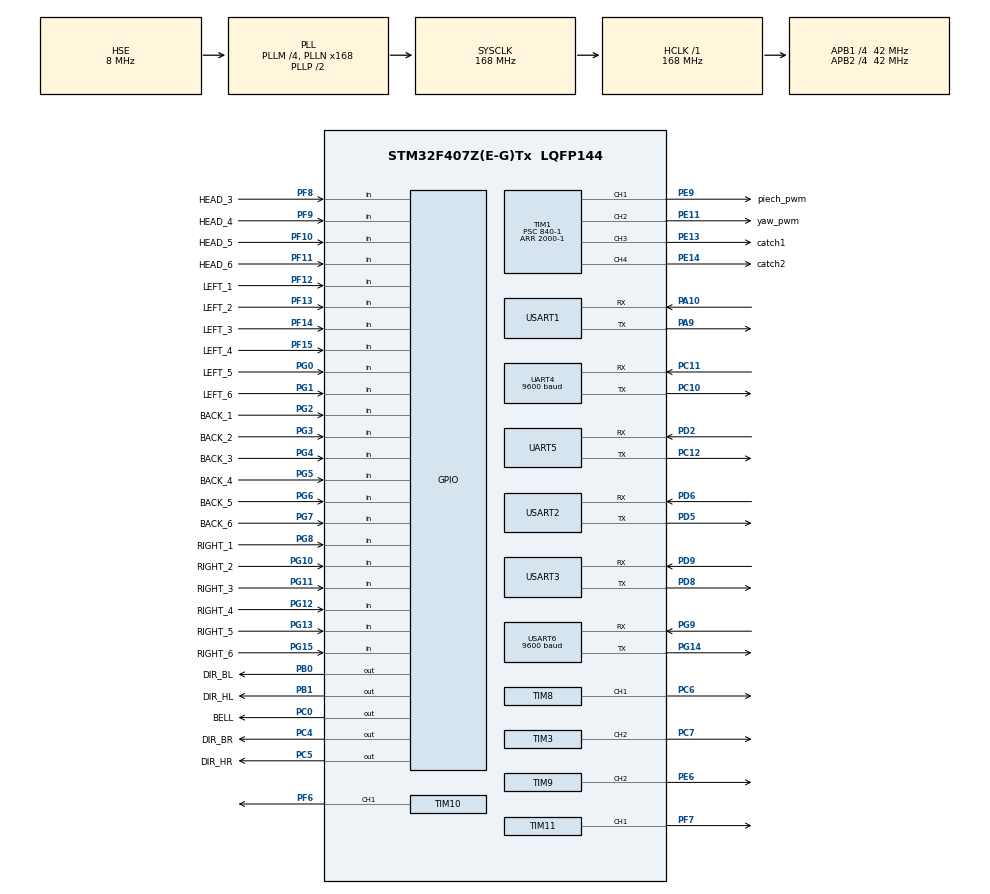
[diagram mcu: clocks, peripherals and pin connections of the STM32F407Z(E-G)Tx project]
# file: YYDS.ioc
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Dma.Request0=USART3_RX
Dma.Request1=USART1_RX
Dma.Request2=USART2_RX
Dma.Request3=UART4_RX
Dma.Request4=UART4_TX
Dma.Request5=USART6_RX
Dma.Request6=USART6_TX
Dma.UART4_RX.3.Direction=DMA_PERIPH_TO_MEMORY
Dma.UART4_RX.3.FIFOMode=DMA_FIFOMODE_DISABLE
Dma.UART4_RX.3.Instance=DMA1_Stream2
Dma.UART4_RX.3.MemDataAlignment=DMA_MDATAALIGN_BYTE
Dma.UART4_RX.3.MemInc=DMA_MINC_ENABLE
Dma.UART4_RX.3.Mode=DMA_NORMAL
Dma.UART4_RX.3.PeriphDataAlignment=DMA_PDATAALIGN_BYTE
Dma.UART4_RX.3.PeriphInc=DMA_PINC_DISABLE
Dma.UART4_RX.3.Priority=DMA_PRIORITY_LOW
Dma.UART4_TX.4.Direction=DMA_MEMORY_TO_PERIPH
Dma.UART4_TX.4.FIFOMode=DMA_FIFOMODE_DISABLE
Dma.UART4_TX.4.Instance=DMA1_Stream4
Dma.UART4_TX.4.MemDataAlignment=DMA_MDATAALIGN_BYTE
Dma.UART4_TX.4.MemInc=DMA_MINC_ENABLE
Dma.UART4_TX.4.Mode=DMA_NORMAL
Dma.UART4_TX.4.PeriphDataAlignment=DMA_PDATAALIGN_BYTE
Dma.UART4_TX.4.PeriphInc=DMA_PINC_DISABLE
Dma.UART4_TX.4.Priority=DMA_PRIORITY_LOW
Dma.USART1_RX.1.Direction=DMA_PERIPH_TO_MEMORY
Dma.USART1_RX.1.FIFOMode=DMA_FIFOMODE_DISABLE
Dma.USART1_RX.1.Instance=DMA2_Stream2
Dma.USART1_RX.1.MemDataAlignment=DMA_MDATAALIGN_BYTE
Dma.USART1_RX.1.MemInc=DMA_MINC_ENABLE
Dma.USART1_RX.1.Mode=DMA_NORMAL
Dma.USART1_RX.1.PeriphDataAlignment=DMA_PDATAALIGN_BYTE
Dma.USART1_RX.1.PeriphInc=DMA_PINC_DISABLE
Dma.USART1_RX.1.Priority=DMA_PRIORITY_HIGH
Dma.USART2_RX.2.Direction=DMA_PERIPH_TO_MEMORY
Dma.USART2_RX.2.FIFOMode=DMA_FIFOMODE_DISABLE
Dma.USART2_RX.2.Instance=DMA1_Stream5
Dma.USART2_RX.2.MemDataAlignment=DMA_MDATAALIGN_BYTE
Dma.USART2_RX.2.MemInc=DMA_MINC_ENABLE
Dma.USART2_RX.2.Mode=DMA_NORMAL
Dma.USART2_RX.2.PeriphDataAlignment=DMA_PDATAALIGN_BYTE
Dma.USART2_RX.2.PeriphInc=DMA_PINC_DISABLE
Dma.USART2_RX.2.Priority=DMA_PRIORITY_VERY_HIGH
Dma.USART3_RX.0.Direction=DMA_PERIPH_TO_MEMORY
Dma.USART3_RX.0.FIFOMode=DMA_FIFOMODE_DISABLE
Dma.USART3_RX.0.Instance=DMA1_Stream1
Dma.USART3_RX.0.MemDataAlignment=DMA_MDATAALIGN_BYTE
Dma.USART3_RX.0.MemInc=DMA_MINC_ENABLE
Dma.USART3_RX.0.Mode=DMA_CIRCULAR
Dma.USART3_RX.0.PeriphDataAlignment=DMA_PDATAALIGN_BYTE
Dma.USART3_RX.0.PeriphInc=DMA_PINC_DISABLE
Dma.USART3_RX.0.Priority=DMA_PRIORITY_HIGH
Dma.USART6_RX.5.Direction=DMA_PERIPH_TO_MEMORY
Dma.USART6_RX.5.FIFOMode=DMA_FIFOMODE_DISABLE
Dma.USART6_RX.5.Instance=DMA2_Stream1
Dma.USART6_RX.5.MemDataAlignment=DMA_MDATAALIGN_BYTE
Dma.USART6_RX.5.MemInc=DMA_MINC_ENABLE
Dma.USART6_RX.5.Mode=DMA_NORMAL
Dma.USART6_RX.5.PeriphDataAlignment=DMA_PDATAALIGN_BYTE
Dma.USART6_RX.5.PeriphInc=DMA_PINC_DISABLE
Dma.USART6_RX.5.Priority=DMA_PRIORITY_LOW
Dma.USART6_TX.6.Direction=DMA_MEMORY_TO_PERIPH
Dma.USART6_TX.6.FIFOMode=DMA_FIFOMODE_DISABLE
Dma.USART6_TX.6.Instance=DMA2_Stream6
Dma.USART6_TX.6.MemDataAlignment=DMA_MDATAALIGN_BYTE
Dma.USART6_TX.6.MemInc=DMA_MINC_ENABLE
Dma.USART6_TX.6.Mode=DMA_NORMAL
Dma.USART6_TX.6.PeriphDataAlignment=DMA_PDATAALIGN_BYTE
Dma.USART6_TX.6.PeriphInc=DMA_PINC_DISABLE
Dma.USART6_TX.6.Priority=DMA_PRIORITY_LOW
Mcu.Family=STM32F4
Mcu.Name=STM32F407Z(E-G)Tx
Mcu.Package=LQFP144
NVIC.DMA1_Stream1_IRQn=true\:0\:0\:false\:false\:true\:false\:true\:true
NVIC.DMA1_Stream2_IRQn=true\:0\:0\:false\:false\:true\:false\:true\:true
NVIC.DMA1_Stream4_IRQn=true\:0\:0\:false\:false\:true\:false\:true\:true
NVIC.DMA1_Stream5_IRQn=true\:0\:0\:false\:false\:true\:false\:true\:true
NVIC.DMA2_Stream1_IRQn=true\:0\:0\:false\:false\:true\:false\:true\:true
NVIC.DMA2_Stream2_IRQn=true\:0\:0\:false\:false\:true\:false\:true\:true
NVIC.DMA2_Stream6_IRQn=true\:0\:0\:false\:false\:true\:false\:true\:true
NVIC.PriorityGroup=NVIC_PRIORITYGROUP_4
NVIC.TIM5_IRQn=true\:0\:0\:false\:false\:true\:true\:true\:true
NVIC.UART4_IRQn=true\:2\:0\:true\:false\:true\:true\:true\:true
NVIC.UART5_IRQn=true\:3\:0\:true\:false\:true\:true\:true\:true
NVIC.USART1_IRQn=true\:2\:0\:true\:false\:true\:true\:true\:true
NVIC.USART2_IRQn=true\:0\:0\:true\:false\:true\:true\:true\:true
NVIC.USART3_IRQn=true\:1\:0\:true\:false\:true\:true\:true\:true
NVIC.USART6_IRQn=true\:2\:0\:true\:false\:true\:true\:true\:true
PA10.Mode=Asynchronous
PA10.Signal=USART1_RX
PA13.Mode=Serial_Wire
PA13.Signal=SYS_JTMS-SWDIO
PA14.Mode=Serial_Wire
PA14.Signal=SYS_JTCK-SWCLK
PA9.Mode=Asynchronous
PA9.Signal=USART1_TX
PB0.GPIO_Label=DIR_BL
PB0.GPIO_PuPd=GPIO_NOPULL
PB0.PinState=GPIO_PIN_SET
PB0.Signal=GPIO_Output
PB1.GPIO_Label=DIR_HL
PB1.PinState=GPIO_PIN_SET
PB1.Signal=GPIO_Output
PC0.GPIO_Label=BELL
PC0.Signal=GPIO_Output
PC10.Mode=Asynchronous
PC10.Signal=UART4_TX
PC11.Mode=Asynchronous
PC11.Signal=UART4_RX
PC12.Mode=Asynchronous
PC12.Signal=UART5_TX
PC4.GPIO_Label=DIR_BR
PC4.PinState=GPIO_PIN_SET
PC4.Signal=GPIO_Output
PC5.GPIO_Label=DIR_HR
PC5.PinState=GPIO_PIN_SET
PC5.Signal=GPIO_Output
PC6.Signal=S_TIM8_CH1
PC7.Signal=S_TIM3_CH2
PD2.Mode=Asynchronous
PD2.Signal=UART5_RX
PD5.Mode=Asynchronous
PD5.Signal=USART2_TX
PD6.Mode=Asynchronous
PD6.Signal=USART2_RX
PD8.Mode=Asynchronous
PD8.Signal=USART3_TX
PD9.Mode=Asynchronous
PD9.Signal=USART3_RX
PE11.GPIO_Label=yaw_pwm
PE11.Signal=S_TIM1_CH2
PE13.GPIO_Label=catch1
PE13.Signal=S_TIM1_CH3
PE14.GPIO_Label=catch2
PE14.Signal=S_TIM1_CH4
PE6.Signal=S_TIM9_CH2
PE9.GPIO_Label=piech_pwm
PE9.Signal=S_TIM1_CH1
PF10.GPIO_Label=HEAD_5
PF10.Signal=GPIO_Input
PF11.GPIO_Label=HEAD_6
PF11.Signal=GPIO_Input
PF12.GPIO_Label=LEFT_1
PF12.Signal=GPIO_Input
PF13.GPIO_Label=LEFT_2
PF13.Signal=GPIO_Input
PF14.GPIO_Label=LEFT_3
PF14.Signal=GPIO_Input
PF15.GPIO_Label=LEFT_4
PF15.Signal=GPIO_Input
PF6.Signal=S_TIM10_CH1
PF7.Signal=S_TIM11_CH1
PF8.GPIO_Label=HEAD_3
PF8.Signal=GPIO_Input
PF9.GPIO_Label=HEAD_4
PF9.Signal=GPIO_Input
PG0.GPIO_Label=LEFT_5
PG0.Signal=GPIO_Input
PG1.GPIO_Label=LEFT_6
PG1.Signal=GPIO_Input
PG10.GPIO_Label=RIGHT_2
PG10.Signal=GPIO_Input
PG11.GPIO_Label=RIGHT_3
PG11.Signal=GPIO_Input
PG12.GPIO_Label=RIGHT_4
PG12.Signal=GPIO_Input
PG13.GPIO_Label=RIGHT_5
PG13.Signal=GPIO_Input
PG14.Mode=Asynchronous
PG14.Signal=USART6_TX
PG15.GPIO_Label=RIGHT_6
PG15.Signal=GPIO_Input
PG2.GPIO_Label=BACK_1
PG2.Signal=GPIO_Input
PG3.GPIO_Label=BACK_2
PG3.Signal=GPIO_Input
PG4.GPIO_Label=BACK_3
PG4.Signal=GPIO_Input
PG5.GPIO_Label=BACK_4
PG5.Signal=GPIO_Input
PG6.GPIO_Label=BACK_5
PG6.Signal=GPIO_Input
PG7.GPIO_Label=BACK_6
PG7.Signal=GPIO_Input
PG8.GPIO_Label=RIGHT_1
PG8.Signal=GPIO_Input
PG9.Mode=Asynchronous
PG9.Signal=USART6_RX
PH0-OSC_IN.Mode=HSE-External-Oscillator
PH0-OSC_IN.Signal=RCC_OSC_IN
PH1-OSC_OUT.Mode=HSE-External-Oscillator
PH1-OSC_OUT.Signal=RCC_OSC_OUT
ProjectManager.HeapSize=0x200
ProjectManager.StackSize=0x400
ProjectManager.TargetToolchain=MDK-ARM V5.27
RCC.48MHZClocksFreq_Value=84000000
RCC.AHBFreq_Value=168000000
RCC.APB1CLKDivider=RCC_HCLK_DIV4
RCC.APB1Freq_Value=42000000
RCC.APB1TimFreq_Value=84000000
RCC.APB2CLKDivider=RCC_HCLK_DIV4
RCC.APB2Freq_Value=42000000
RCC.APB2TimFreq_Value=84000000
RCC.CortexFreq_Value=168000000
RCC.HCLKFreq_Value=168000000
RCC.HSE_VALUE=8000000
RCC.HSI_VALUE=16000000
RCC.LSE_VALUE=32768
RCC.PLLM=4
RCC.PLLN=168
RCC.PLLSourceVirtual=RCC_PLLSOURCE_HSE
RCC.SYSCLKFreq_VALUE=168000000
RCC.SYSCLKSource=RCC_SYSCLKSOURCE_PLLCLK
RCC.VCOOutputFreq_Value=336000000
SH.S_TIM10_CH1.0=TIM10_CH1,PWM Generation1 CH1
SH.S_TIM11_CH1.0=TIM11_CH1,PWM Generation1 CH1
SH.S_TIM1_CH1.0=TIM1_CH1,PWM Generation1 CH1
SH.S_TIM1_CH2.0=TIM1_CH2,PWM Generation2 CH2
SH.S_TIM1_CH3.0=TIM1_CH3,PWM Generation3 CH3
SH.S_TIM1_CH4.0=TIM1_CH4,PWM Generation4 CH4
SH.S_TIM3_CH2.0=TIM3_CH2,PWM Generation2 CH2
SH.S_TIM8_CH1.0=TIM8_CH1,PWM Generation1 CH1
SH.S_TIM9_CH2.0=TIM9_CH2,PWM Generation2 CH2
TIM1.Channel-PWM\ Generation1\ CH1=TIM_CHANNEL_1
TIM1.Channel-PWM\ Generation2\ CH2=TIM_CHANNEL_2
TIM1.Channel-PWM\ Generation3\ CH3=TIM_CHANNEL_3
TIM1.Channel-PWM\ Generation4\ CH4=TIM_CHANNEL_4
TIM1.Period=2000-1
TIM1.Prescaler=840-1
TIM10.AutoReloadPreload=TIM_AUTORELOAD_PRELOAD_ENABLE
TIM10.Channel=TIM_CHANNEL_1
TIM10.OCPolarity_1=TIM_OCPOLARITY_LOW
TIM10.Period=50-1
TIM10.Prescaler=168
TIM11.AutoReloadPreload=TIM_AUTORELOAD_PRELOAD_ENABLE
TIM11.Channel=TIM_CHANNEL_1
TIM11.OCPolarity_1=TIM_OCPOLARITY_LOW
TIM11.Period=50-1
TIM11.Prescaler=168
TIM3.AutoReloadPreload=TIM_AUTORELOAD_PRELOAD_ENABLE
TIM3.Channel-PWM\ Generation2\ CH2=TIM_CHANNEL_2
TIM3.OCPolarity_2=TIM_OCPOLARITY_LOW
TIM3.Period=50-1
TIM3.Prescaler=84-1
TIM5.Period=1000-1
TIM5.Prescaler=84-1
TIM8.AutoReloadPreload=TIM_AUTORELOAD_PRELOAD_ENABLE
TIM8.Channel-PWM\ Generation1\ CH1=TIM_CHANNEL_1
TIM8.OCPolarity_1=TIM_OCPOLARITY_LOW
TIM8.Period=50-1
TIM8.Prescaler=168-1
TIM8.TIM_MasterOutputTrigger=TIM_TRGO_RESET
TIM8.TIM_MasterSlaveMode=TIM_MASTERSLAVEMODE_DISABLE
TIM9.Channel-PWM\ Generation2\ CH2=TIM_CHANNEL_2
TIM9.Period=2000-1
TIM9.Prescaler=840-1
UART4.BaudRate=9600
UART4.VirtualMode=Asynchronous
UART5.VirtualMode=Asynchronous
USART1.VirtualMode=VM_ASYNC
USART2.VirtualMode=VM_ASYNC
USART3.VirtualMode=VM_ASYNC
USART6.BaudRate=9600
USART6.VirtualMode=VM_ASYNC
VP_TIM10_VS_ClockSourceINT.Mode=Enable_Timer
VP_TIM11_VS_ClockSourceINT.Mode=Enable_Timer
VP_TIM5_VS_ClockSourceINT.Mode=Internal
board=custom

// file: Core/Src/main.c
/* USER CODE BEGIN Header */
/**
  ******************************************************************************
  * @file           : main.c
  * @brief          : Main program body
  ******************************************************************************
  * @attention
  *
  * Copyright (c) 2022 STMicroelectronics.
  * All rights reserved.
  *
  * This software is licensed under terms that can be found in the LICENSE file
  * in the root directory of this software component.
  * If no LICENSE file comes with this software, it is provided AS-IS.
  *
  ******************************************************************************
  */
/* USER CODE END Header */
#include "main.h"
#include "dma.h"
#include "tim.h"
#include "usart.h"
#include "gpio.h"

/* USER0 CODE BEGIN Includes */
#include "k210_uart.h"
#include "k210_line_uart.h"
#include "my_servo.h"

#define debug_mode 0

/* 初始化小车状态机 */
QFsm car_state;  /* 实例化函数指针 */
QEvent car_signal;  /* 实例化事件结构体 */
Car car;  /* 状态机中需要用到的变量 */
Target target;
float movex,movey,movez;//移动的方向或角度
unsigned char head_led,back_led,left_led,right_led;
PID Move_Z_pid;//舵机PID

PID Head_Z_pid;//红外循迹
PID Left_Z_pid;//红外循迹

PID K210x_pid;//K210循迹
PID K210y_pid;//K210循迹
PID K210z_pid;//K210循迹

unsigned char flag_move;
unsigned char flag_site;//位置矫正0 关闭位置 1直行 2 测走

int head_bias;//头循迹
int left_bias;//头循迹
int debugprintmode;
/* USER CODE END Includes */

/* USER CODE BEGIN PTD */

/* printf重定向 */
int fputc(int ch, FILE *f)
{

    uint8_t temp[1] = {ch};
    HAL_UART_Transmit(&huart5, temp, 1, 2);//huart1需要根据你的配置修改
    return ch;
}

/* USER CODE END PTD */

/* USER CODE BEGIN PM */
uint8_t rx_buff=0;
uint8_t uartRecData[22] = {0};//陀螺仪
uint8_t Z_get[3];
uint8_t seveo[10]={0};//透传
uint8_t uart_seveo[9]={0};
uint8_t uart_head[4]={0};//循迹
uint8_t uart_left[4]={0};//循迹

uint8_t uart_code[13]={0};//二维码颜色
uint8_t uart_color[12]={0};//二维码颜色
K210 uart_K210;

float yaw_expect=0;
float yaw;
float GY;
uint8_t YawH;
uint8_t YawL;
uint8_t WyL;
uint8_t WyH;

uint8_t piancha = 0x57;

void HAL_UART_RxCpltCallback(UART_HandleTypeDef *huart)
{
     int16_t time=0;

    /* 判断是哪个串口触发的中断 */

		if(huart ->Instance == UART5)
	{
			HAL_UART_Receive_IT(&huart5, uart_seveo, 9);
			if (uart_seveo[0] == 0xf1  && uart_seveo[8] == 0x11  )
			{

				for(int idx=0;idx<7;idx++)
				{
					seveo[idx]=uart_seveo[idx+1];
				}
			}
    }

}

void HAL_UART_ErrorCallback(UART_HandleTypeDef *huart)
{
    if(__HAL_UART_GET_FLAG(huart, UART_FLAG_ORE) != RESET)
    {
        __HAL_UART_CLEAR_OREFLAG(huart);
    }
    HAL_UART_Receive_IT(huart, &rx_buff, 1);
}

/**
* @file 在 tim.c 文件增加以下内容
*/

/* USER CODE END PM */

void SystemClock_Config(void);

int main(void)
{

  /* MCU Configuration--------------------------------------------------------*/

  /* Reset of all peripherals, Initializes the Flash interface and the Systick. */
  HAL_Init();

  /* Configure the system clock */
  SystemClock_Config();

  /* Initialize all configured peripherals */
  MX_GPIO_Init();
	MX_DMA_Init();
  MX_TIM1_Init();
  MX_TIM5_Init();
  MX_TIM8_Init();
  MX_UART4_Init();
  MX_USART2_UART_Init();
  MX_USART3_UART_Init();
  MX_TIM9_Init();
  MX_UART5_Init();
  MX_TIM3_Init();
  MX_TIM10_Init();
  MX_TIM11_Init();
  MX_USART6_UART_Init();
  MX_USART1_UART_Init();
  /* USER CODE BEGIN 2 */
	 /* 启动uart3中断 */

		mpu_control_init();
		HAL_Delay(500);
		mpuInit();
		K210_uart_init();
		K210_line_uart_init();

		__HAL_UART_ENABLE_IT(&huart5, UART_IT_ERR);
				HAL_UART_Receive_IT(&huart5, uart_seveo, 9);
		__HAL_UART_ENABLE_IT(&huart4, UART_IT_IDLE);  //开启空闲中断
		HAL_UART_Receive_DMA(&huart4,uart_left,3);  //开启DMA接收中断
		__HAL_UART_ENABLE_IT(&huart6, UART_IT_IDLE);  //开启空闲中断
		HAL_UART_Receive_DMA(&huart6,uart_head,3);  //开启DMA接收中断

		//mpu_control_init();

	HAL_TIM_Base_Start_IT(&htim5);   /* 定时器5使能 */
  /* 初始化电机PWM */
	Drive_init();
	System_Init();

		init_maps();
		init_bias();
//Servo_mid_Pwm(0x8C,0x9B,0x50,0xC0,0xE8);//提前打开机械臂
//							Servo_Pwm(0x8C,0x9B,0x50,0xC0,0xE8);

//		Servo_mid_Pwm(0x8c,0x90,0x96,0x96,0x60);

		K210y_pid.SetPoint=0;
		K210x_pid.SetPoint=0;

//		K210y_pid.SetPoint=207.5;
//		K210x_pid.SetPoint=160.5;
//		flag_site=2;//摄像头找位置
//		flag_move=1;
////		K210_Line_begin(ENABLE_UART);
//		HAL_Delay(500);
//		K210y_pid.SetPoint=207.5;
//		K210x_pid.SetPoint=160.5;
//		flag_site=2;//摄像头找位置
//		flag_move=1;

//		uart_code[0]=1;

    K210_Line_begin(DISABLE_UART);
		K210_Code_begin(GET_CODE);

		//K210_Code_begin(DISABLE_UART);

////测试
//	uart_color[0]=1;
//	uart_color[1]=2;
//	uart_color[2]=3;
//	uart_color[5]=1;
//	uart_color[4]=2;
//	uart_color[3]=3;

//	uart_code[0]=2;
//	uart_code[2]=3;
//	uart_code[4]=1;
//	uart_code[6]=3;
//	uart_code[8]=1;
//	uart_code[10]=2;
//	uart_code[12]=0;

Servo_move_on_act;
flag_site=0;
seveo[6]=0x14;
  /* USER CODE END 2 */

  /* Infinite loop */
  /* USER CODE BEGIN WHILE */
  while (1)
  {
		#if !debug_mode
		QFsm_dispatch(&car_state, &car_signal);  //状态分发
		#endif
//debug测试
#if debug_mode
		HAL_Delay(100);
		switch (seveo[6]) {
							case 1 :
								 Servo_Pwm(seveo[0],seveo[1],seveo[2],seveo[3],seveo[4],seveo[5]);
								 break; /* 可选的 */
							case 2 :
								 debug_color_up();
								 break; /* 可选的 */
							case 3 :
								 debug_color_down();
								 break; /* 可选的 */
							case 4 :
									K210_Line_begin(BRIDGE);
									debugprintmode=0x10;
								 debug_bridge();
								 break; /* 可选的 */
							case 5 :
//								K210_Line_begin(Get_6Line);
								debugprintmode=0x10;
								 debug_endput1();
								 break; /* 可选的 */
							case 6 :
								K210_Line_begin(Get_6Line);
								debugprintmode=0x10;
								 debug_endput2();
								 break; /* 可选的 */
							case 7 :
								 break; /* 可选的 */
							case 8 :
							debugprintmode=8;
								 printf("print0x08 :%f,%f,%d,%d \n",movex,movey,left_bias,head_bias);
								 break; /* 可选的 */
							case 9 :
							debugprintmode=9;
									printf("print0x09:%f,%f \n",movez,mpu_crtl.yaw);
								 break; /* 可选的 */
							case 0x10 :
							debugprintmode=0x10;
								printf("print0x10:%f,%f,%f,%f \n",movex,movey,uart_K210.Rho0,uart_K210.Rho90);
								 break; /* 可选的 */
							case 0x11 :
							K210_Line_begin(Get_6LineL);
							HAL_Delay(500);
							K210y_pid.SetPoint=B_k210.GetCode.ynum;
							K210x_pid.SetPoint=B_k210.GetCode.xnum;
							flag_site=2;//摄像头找位置
							flag_move=1;
							debugprintmode=0x10;
							seveo[6]=0x16;
							break; /* 可选的 */
							case 0x12 :
								K210_Line_begin(Get_6LineL);
								HAL_Delay(500);
								K210y_pid.SetPoint=B_k210.GetCode2.ynum;
								K210x_pid.SetPoint=B_k210.GetCode2.xnum;
								flag_site=2;//摄像头找位置
								flag_move=1;
							debugprintmode=0x10;
								seveo[6]=0x16;
								 break; /* 可选的 */
							case 0x13 :
								K210_Line_begin(BRIDGE);
								HAL_Delay(500);
								K210y_pid.SetPoint=B_k210.GetBridge.ynum;
								K210x_pid.SetPoint=B_k210.GetBridge.xnum;
								flag_site=2;//摄像头找位置
							flag_move=1;
								seveo[6]=0x16;
								 break; /* 可选的 */
							case 0x14 :
								 K210_Line_begin(Get_6Line);
								HAL_Delay(500);
								K210y_pid.SetPoint=B_k210.Get_End.ynum;
								K210x_pid.SetPoint=B_k210.Get_End.xnum;
								flag_site=2;//摄像头找位置
								flag_move=1;
								debugprintmode=0x10;
								seveo[6]=0x16;
								 break; /* 可选的 */
							case 0x15 :
								 K210_Line_begin(Get_6Line);
								HAL_Delay(500);
								K210y_pid.SetPoint=B_k210.Get_End2.ynum;
								K210x_pid.SetPoint=B_k210.Get_End2.xnum;
								flag_site=2;//摄像头找位置
							flag_move=1;
															debugprintmode=0x10;

								seveo[6]=0x16;
								 break; /* 可选的 */
							case 0x16 :
								if(fabs(K210x_pid.SetPoint-uart_K210.Rho0) <1 && fabs(K210y_pid.SetPoint-uart_K210.Rho90) <1 && flag_site==2)
								{
									HAL_Delay(300);
									if(fabs(K210x_pid.SetPoint-uart_K210.Rho0) <1 && fabs(K210y_pid.SetPoint-uart_K210.Rho90) <1 && flag_site==2)
									{
										if(fabs(K210x_pid.SetPoint-uart_K210.Rho0) <1 && fabs(K210y_pid.SetPoint-uart_K210.Rho90) <1 && flag_site==2)
										{
											BEEL_ON;
											HAL_Delay(300);
											BEEL_OFF;
											flag_move=0;
											seveo[6]=0x06;
										}
									}
								}
								 break; /* 可选的 */
							case 0x17 :
									if(fabs(K210x_pid.SetPoint-uart_K210.Rho0) <1 && fabs(K210y_pid.SetPoint-uart_K210.Rho90) <1 && flag_site==2)
									{
										HAL_Delay(300);
										if(fabs(K210x_pid.SetPoint-uart_K210.Rho0) <1 && fabs(K210y_pid.SetPoint-uart_K210.Rho90) <1 && flag_site==2)
										{
											if(fabs(K210x_pid.SetPoint-uart_K210.Rho0) <1 && fabs(K210y_pid.SetPoint-uart_K210.Rho90) <1 && flag_site==2)
											{
												BEEL_ON;
												HAL_Delay(300);
												BEEL_OFF;
											}
										}
									}
								 break; /* 可选的 */

							default : /* 可选的 */
							 break; /* 可选的 */

							}
#endif

    /* USER CODE END WHILE */

	}
}

void SystemClock_Config(void)
{
  RCC_OscInitTypeDef RCC_OscInitStruct = {0};
  RCC_ClkInitTypeDef RCC_ClkInitStruct = {0};

  /** Configure the main internal regulator output voltage
  */
  __HAL_RCC_PWR_CLK_ENABLE();
  __HAL_PWR_VOLTAGESCALING_CONFIG(PWR_REGULATOR_VOLTAGE_SCALE1);

  /** Initializes the RCC Oscillators according to the specified parameters
  * in the RCC_OscInitTypeDef structure.
  */
  RCC_OscInitStruct.OscillatorType = RCC_OSCILLATORTYPE_HSE;
  RCC_OscInitStruct.HSEState = RCC_HSE_ON;
  RCC_OscInitStruct.PLL.PLLState = RCC_PLL_ON;
  RCC_OscInitStruct.PLL.PLLSource = RCC_PLLSOURCE_HSE;
  RCC_OscInitStruct.PLL.PLLM = 4;
  RCC_OscInitStruct.PLL.PLLN = 168;
  RCC_OscInitStruct.PLL.PLLP = RCC_PLLP_DIV2;
  RCC_OscInitStruct.PLL.PLLQ = 4;
  if (HAL_RCC_OscConfig(&RCC_OscInitStruct) != HAL_OK)
  {
    Error_Handler();
  }

  /** Initializes the CPU, AHB and APB buses clocks
  */
  RCC_ClkInitStruct.ClockType = RCC_CLOCKTYPE_HCLK|RCC_CLOCKTYPE_SYSCLK
                              |RCC_CLOCKTYPE_PCLK1|RCC_CLOCKTYPE_PCLK2;
  RCC_ClkInitStruct.SYSCLKSource = RCC_SYSCLKSOURCE_PLLCLK;
  RCC_ClkInitStruct.AHBCLKDivider = RCC_SYSCLK_DIV1;
  RCC_ClkInitStruct.APB1CLKDivider = RCC_HCLK_DIV4;
  RCC_ClkInitStruct.APB2CLKDivider = RCC_HCLK_DIV4;

  if (HAL_RCC_ClockConfig(&RCC_ClkInitStruct, FLASH_LATENCY_5) != HAL_OK)
  {
    Error_Handler();
  }
}

/* USER CODE BEGIN 4 */

uint16_t tim_cnt_20 = 0;
uint16_t tim_cnt_15 = 0;
uint16_t tim_cnt_10 = 0;
uint16_t text = 0;
void HAL_TIM_PeriodElapsedCallback(TIM_HandleTypeDef *htim)
{
    if(htim->Instance == htim5.Instance)
    {
        tim_cnt_20++;
        tim_cnt_15++;
        tim_cnt_10++;

        /* 15ms编码器采样周期 进行滑动均值滤波 */
        if(tim_cnt_15 >= 15)
        {
            tim_cnt_15 = 0;
						head_led =get_HEAD_LED();
						back_led =get_BACK_LED();
						left_led =get_LEFT_LED();
						right_led =get_RIGHT_LED();

					if(head_led!=0x0f && flag_move==1 &&flag_site!=2)
					HAL_UART_Transmit_DMA(&huart6, &piancha,1);
					if(left_led!=0x3f && flag_move==1 && flag_site!=2)
					HAL_UART_Transmit_DMA(&huart4, &piancha,1);
//					if(flag_site==1 || flag_site==4 ){
//					if(head_led!=0x0f && flag_move==1)
//					HAL_UART_Transmit(&huart6, &piancha, 1, 3);}//循迹模块}
//					if(flag_site==3|| flag_site==4){
//					if(left_led!=0x3f && flag_move==1)
//					HAL_UART_Transmit(&huart4, &piancha, 1, 3);//循迹模块
//					}
				}

        /* 速度闭环控制 */
        if(tim_cnt_20 >= 20)
        {
            tim_cnt_20 = 0;

					//	Kinematic_Analysis(&target,movex,movey,movez);
					float MZ=Move_Z_pid.SetPoint-mpu_crtl.yaw;//扩大一下

					float MPU_Z=0;//陀螺仪循迹
					float Head_Y=0;//光电循迹
					float Left_X=0;//光电循迹
					if(MZ<-180)
					{
						MZ+=360;
					}
					else if(MZ>180)
					{
						MZ-=360;
					}
					if(flag_move==1  ){
					MPU_Z= pid_solve(&Move_Z_pid,MZ*10);  // 舵机第二问方向环
					}

					if(flag_site==1){
						Head_Y= pid_solve(&Head_Z_pid,Head_Z_pid.SetPoint-head_bias);
						movey=Head_Y;
					}
					else if(flag_site==2)
					{
							movex=pid_solve(&K210x_pid,K210x_pid.SetPoint-uart_K210.Rho0);
							movey=pid_solve(&K210y_pid,-(K210y_pid.SetPoint-uart_K210.Rho90));
						movex=MINMAX(movex,-medomspeed,medomspeed);
						movey=MINMAX(movey,-medomspeed,medomspeed);
					}
					else if(flag_site==3)
					{
						Left_X= pid_solve(&Left_Z_pid,left_bias-Left_Z_pid.SetPoint);
						movex=Left_X;
					}
					else if(flag_site==4)
					{
						Head_Y= pid_solve(&Head_Z_pid,Head_Z_pid.SetPoint-head_bias);
						Left_X= pid_solve(&Left_Z_pid,left_bias-Left_Z_pid.SetPoint);
						movex=MINMAX(Left_X,-medomspeed,medomspeed);
						movey=MINMAX(Head_Y,-medomspeed,medomspeed);
					}
					else if(flag_site==0){
						movex=movex;
						movey=movey;

					}
					else if(flag_site==5)//陀螺仪校准
					{
//						movey=0;
//						movex=0;
						movex=pid_solve(&K210x_pid,K210x_pid.SetPoint-uart_K210.Rho0);
						movey=pid_solve(&K210y_pid,-(K210y_pid.SetPoint-uart_K210.Rho90));
						movex=MINMAX(movex,-slowspeed,slowspeed);
						movey=MINMAX(movey,-slowspeed,slowspeed);
						MPU_Z=pid_solve(&K210z_pid,-(K210z_pid.SetPoint-uart_K210.dis_circle_y));
//						if(fabs(K210z_pid.SetPoint-uart_K210.dis_circle_y) <0.2  )
//						{

////							mpuInit();
//							flag_site=0;
//							flag_move=0;
//						}
					}

					movez=	MPU_Z;

					//printf("movez:%f,%f \n",movez,mpu_crtl.yaw);//究极逆天bug  为啥printf多输出一项就会影响串口？？？？？？？？？？？？？？？
					//printf("movez:%f,%f,%d,%f \n",movez,mpu_crtl.yaw,head_bias,movey);?????????????????????????///我是真不理解
//						Speed_Calculation(&target,movex,movey,movez);
//					Speed_Calculation(&target,movex,movey,movez);
					//谐波函数用于开启
//					ramp_calc(&target.BL_ramp, target.Target_BL);
//					ramp_calc(&target.BR_ramp, target.Target_BR);
//					ramp_calc(&target.HL_ramp, target.Target_HL);
//					ramp_calc(&target.HR_ramp, target.Target_HR);
//					target.Target_BL = (uint16_t)(target.BL_ramp.out);
//					target.Target_BR = (uint16_t)(target.BR_ramp.out);
//					target.Target_HL = (uint16_t)(target.HL_ramp.out);
//					target.Target_HR = (uint16_t)(target.HR_ramp.out);

					if(flag_move){
					Speed_Calculation(&target,movex,movey,movez);
					Set_Pwm(target.Target_HL,target.Target_HR,target.Target_BL,target.Target_BR);
					}
					else
					{
//						Speed_Calculation(&target,0,0,0);
					Set_Pwm(0,0,0,0);
					}

					#if debug_mode
					switch (debugprintmode) {
					case 8 :

								 printf("print0x08 :%f,%f,%d,%d \n",movex,movey,left_bias,head_bias);
								 break; /* 可选的 */
							case 9 :

									printf("print0x09:%f,%f \n",movez,mpu_crtl.yaw);
								 break; /* 可选的 */
							case 0x10 :

								printf("print0x10:%f,%f,%f,%f \n",movex,movey,uart_K210.Rho0,uart_K210.Rho90);
								 break; /* 可选的 */
				}
					#endif
        }

        if(tim_cnt_10 >= 10)
        {
            tim_cnt_10 = 0;

        }
    }

}
/* USER CODE END 4 */

void Error_Handler(void)
{
  __disable_irq();
  while (1)
  {
  }
}
